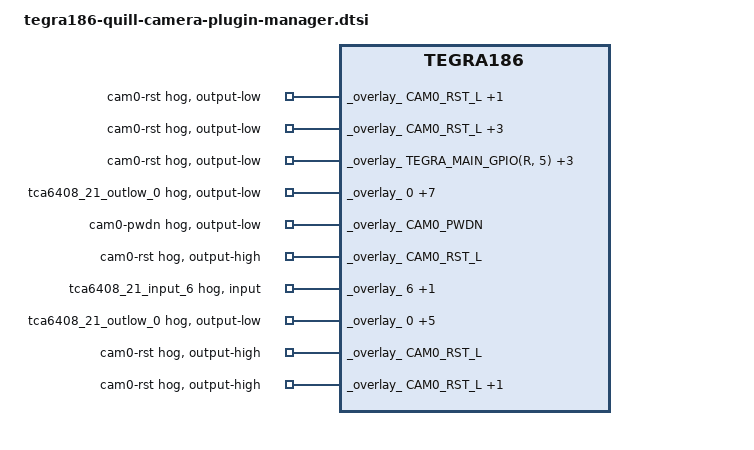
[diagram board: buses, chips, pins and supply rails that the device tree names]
/*
 * Copyright (c) 2016-2019, NVIDIA CORPORATION.  All rights reserved.
 *
 * This program is free software; you can redistribute it and/or modify
 * it under the terms of the GNU General Public License as published by
 * the Free Software Foundation; version 2 of the License.
 *
 * This program is distributed in the hope that it will be useful, but WITHOUT
 * ANY WARRANTY; without even the implied warranty of MERCHANTABILITY or
 * FITNESS FOR A PARTICULAR PURPOSE.  See the GNU General Public License for
 * more details.
 *
 */

#define CAM0_RST_L	TEGRA_MAIN_GPIO(R, 5)
#define CAM0_PWDN	TEGRA_MAIN_GPIO(R, 0)
#define CAM1_RST_L	TEGRA_MAIN_GPIO(R, 1)
#define CAM1_PWDN	TEGRA_MAIN_GPIO(L, 6)

/ {
	gpio@2200000 {
		camera-control-output-low {
			status = "disabled";
		};

		camera-control-output-high {
			status = "disabled";
		};

		camera-control-input {
			status = "disabled";
		};
	};

	gpio@c2f0000 {
		camera-control-output-low {
			status = "disabled";
		};

		camera-control-output-high {
			status = "disabled";
		};

		camera-control-input {
			status = "disabled";
		};
	};

	/* camera plugin-manager */
	plugin-manager {
		/* IMX390 */
		fragment-imx390@0 {
			ids = "LPRD-001";
			override@0 {
				target = <&imx390_cam0>;
				_overlay_ {
					status = "okay";
				};
			};
			override@1 {
				target = <&cam_module0>;
				_overlay_ {
					status = "okay";
					badge = "imx390_rear";
					position = "rear";
					orientation = "1";
				};
			};
			override@2 {
				target = <&cam_module0_drivernode0>;
				_overlay_ {
					status = "okay";
					pcl_id = "v4l2_sensor";
					devname = "imx390 30-001b";
					proc-device-tree = "/proc/device-tree/i2c@3180000/tca9546@70/i2c@0/imx390_a@1b";
				};
			};
			override@3 {
				target = <&imx390_cam1>;
				_overlay_ {
					status = "okay";
				};
			};
			override@4 {
				target = <&cam_module1>;
				_overlay_ {
					status = "okay";
					badge = "imx390_front";
					position = "front";
					orientation = "1";
				};
			};
			override@5 {
				target = <&cam_module1_drivernode0>;
				_overlay_ {
					status = "okay";
					pcl_id = "v4l2_sensor";
					devname = "imx390 30-001c";
					proc-device-tree = "/proc/device-tree/i2c@3180000/tca9546@70/i2c@0/imx390_b@1c";
				};
			};

			/* Enable VI ports */
			override@6 {
				target = <&vi_base>;
				_overlay_ {
					num-channels=<2>;
				};
			};
			override@7 {
				target = <&vi_port0>;
				_overlay_ {
					status = "okay";
				};
			};
			override@8 {
				target = <&vi_port1>;
				_overlay_ {
					status = "okay";
				};
			};
			override@9 {
				target = <&imx390_vi_in0>;
				_overlay_ {
					status = "okay";
					vc-id = <0>;
					port-index = <0>;
					bus-width = <2>;
					remote-endpoint = <&imx390_csi_out0>;
				};
			};
			override@10 {
				target = <&imx390_vi_in1>;
				_overlay_ {
					status = "okay";
					vc-id = <1>;
					port-index = <0>;
					bus-width = <2>;
					remote-endpoint = <&imx390_csi_out1>;
				};
			};

			/* Enable CSI ports */
			override@11{
				target = <&csi_base>;
				_overlay_ {
					num-channels=<2>;
				};
			};
			override@12 {
				target = <&csi_chan0>;
				_overlay_ {
					status = "okay";
				};
			};
			override@13 {
				target = <&csi_chan0_port0>;
				_overlay_ {
					status = "okay";
				};
			};
			override@14 {
				target = <&imx390_csi_in0>;
				_overlay_ {
					status = "okay";
					port-index = <0>;
					bus-width = <2>;
					remote-endpoint = <&imx390_imx390_out0>;
				};
			};
			override@15 {
				target = <&csi_chan0_port1>;
				_overlay_ {
					status = "okay";
				};
			};
			override@16 {
				target = <&imx390_csi_out0>;
				_overlay_ {
					status = "okay";
				};
			};
			override@17 {
				target = <&csi_chan1>;
				_overlay_ {
					status = "okay";
				};
			};
			override@18 {
				target = <&csi_chan1_port0>;
				_overlay_ {
					status = "okay";
				};
			};
			override@19 {
				target = <&imx390_csi_in1>;
				_overlay_ {
					status = "okay";
					port-index = <0>;
					bus-width = <2>;
					remote-endpoint = <&imx390_imx390_out1>;
				};
			};
			override@20 {
				target = <&csi_chan1_port1>;
				_overlay_ {
					status = "okay";
				};
			};
			override@21 {
				target = <&imx390_csi_out1>;
				_overlay_ {
					status = "okay";
				};
			};

			/* tegra-camera-platform settings */
			override@22 {
				target = <&tcp>;
				_overlay_ {
					num_csi_lanes = <2>;
					max_lane_speed = <4000000>;
					min_bits_per_pixel = <10>;
					vi_peak_byte_per_pixel = <2>;
					vi_bw_margin_pct = <25>;
					isp_peak_byte_per_pixel = <5>;
					isp_bw_margin_pct = <25>;
				};
			};
			/* pca9546 i2c mux */
			override@23 {
				target = <&tca9546_70>;
				_overlay_ {
					status = "okay";
					vcc-pullup-supply = <&battery_reg>;
				};
			};
			override@24 {
				target = <&max9296_dser>;
				_overlay_ {
					status = "okay";
				};
			};
			override@25 {
				target = <&max9295_prim>;
				_overlay_ {
					status = "okay";
				};
			};
			override@26 {
				target = <&max9295_ser0>;
				_overlay_ {
					status = "okay";
				};
			};
			override@27 {
				target = <&max9295_ser1>;
				_overlay_ {
					status = "okay";
				};
			};
		};

		/* E3326 camera board */
		fragment-e3326@0 {
			ids = "3326-*";
			override@0 {
				target = <&e3326_cam0>;
				_overlay_ {
					status = "okay";
				};
			};
			override@1 {
				target = <&cam_module0>;
				_overlay_ {
					status = "okay";
					badge = "e3326_front_P5V27C";
					position = "rear";
					orientation = "1";
				};
			};
			override@2 {
				target = <&cam_module0_drivernode0>;
				_overlay_ {
					status = "okay";
					pcl_id = "v4l2_sensor";
					devname = "ov5693 2-0036";
					proc-device-tree = "/proc/device-tree/i2c@3180000/ov5693_c@36";
				};
			};
			override@3 {
				target = <&cam_module0_drivernode1>;
				_overlay_ {
					status = "okay";
					pcl_id = "v4l2_lens";
					proc-device-tree = "/proc/device-tree/e3326_lens_ov5693@P5V27C/";
				};
			};
			/* Enable VI ports */
			override@4 {
				target = <&vi_base>;
				_overlay_ {
					num-channels=<1>;
				};
			};
			override@5 {
				target = <&vi_port0>;
				_overlay_ {
					status = "okay";
				};
			};
			override@6 {
				target = <&e3326_vi_in0>;
				_overlay_ {
					status = "okay";
					port-index = <2>;
					bus-width = <2>;
					remote-endpoint = <&e3326_csi_out0>;
				};
			};
			/* Enable CSI ports */
			override@7 {
				target = <&csi_base>;
				_overlay_ {
					num-channels=<1>;
				};
			};
			override@8 {
				target = <&csi_chan0>;
				_overlay_ {
					status = "okay";
				};
			};
			override@9 {
				target = <&csi_chan0_port0>;
				_overlay_ {
					status = "okay";
				};
			};
			override@10 {
				target = <&e3326_csi_in0>;
				_overlay_ {
					status = "okay";
					port-index = <2>;
					bus-width = <2>;
					remote-endpoint = <&e3326_ov5693_out0>;
				};
			};
			override@11 {
				target = <&csi_chan0_port1>;
				_overlay_ {
					status = "okay";
				};
			};
			override@12 {
				target = <&e3326_csi_out0>;
				_overlay_ {
					status = "okay";
					remote-endpoint = <&e3326_vi_in0>;
				};
			};
			/* tegra-camera-platform settings */
			override@13 {
				target = <&tcp>;
				_overlay_ {
					num_csi_lanes = <4>;
					max_lane_speed = <1500000>;
					min_bits_per_pixel = <10>;
					vi_peak_byte_per_pixel = <2>;
					vi_bw_margin_pct = <25>;
					isp_peak_byte_per_pixel = <5>;
					isp_bw_margin_pct = <25>;
				};
			};
			/* GPIO */
			override@14 {
				target = <&{/gpio@2200000}>;
				_overlay_ {
					camera-control-input {
						status = "disabled";
					};
					camera-control-output-low {
						gpio-hog;
						gpios = <CAM0_RST_L 0 CAM0_PWDN 0>;
						label = "cam0-rst", "cam0-pwdn";
						output-low;
						status = "okay";
					};
					camera-control-output-high {
						status = "disabled";
					};
				};
			};
			override@15 {
				target = <&{/gpio@c2f0000}>;
				_overlay_ {
					camera-control-input {
						status = "disabled";
					};
				};
			};
		};

		/* E3323 camera board */
		fragment-e3323@0 {
			ids = "3323-1000-*";
			/* enable E3323 camera 0 */
			override@0 {
				target = <&e3323_cam0>;
				_overlay_ {
					status = "okay";
				};
			};
			override@1 {
				target = <&cam_module0>;
				_overlay_ {
					status = "okay";
					badge = "e3323_bottom_CH06P1";
					position = "bottom";
					orientation = "3";
				};
			};
			override@2 {
				target = <&cam_module0_drivernode0>;
				_overlay_ {
					status = "okay";
					pcl_id = "v4l2_sensor";
					devname = "ov23850 2-0010";
					proc-device-tree = "/proc/device-tree/i2c@3180000/ov23850_a@10";
				};
			};
			/* enable E3323 camera 1 */
			override@3 {
				target = <&e3323_cam1>;
				_overlay_ {
					status = "okay";
				};
			};
			override@4 {
				target = <&cam_module1>;
				_overlay_ {
					status = "okay";
					badge = "e3323_top_CH06P1";
					position = "top";
					orientation = "3";
				};
			};
			override@5 {
				target = <&cam_module1_drivernode0>;
				_overlay_ {
					status = "okay";
					pcl_id = "v4l2_sensor";
					devname = "ov23850 1-0036";
					proc-device-tree = "/proc/device-tree/i2c@c240000/ov23850_c@36";
				};
			};
			override@6 {
				target = <&cam_module0_drivernode1>;
				_overlay_ {
					status = "okay";
					/* Declare PCL support driver (classically known as guid)  */
					pcl_id = "v4l2_lens";
					proc-device-tree = "/proc/device-tree/e3323_lens_ov23850@CH06P1/";
				};
			};
			override@7 {
				target = <&cam_module1_drivernode1>;
				_overlay_ {
					status = "okay";
					/* Declare PCL support driver (classically known as guid)  */
					pcl_id = "v4l2_lens";
					proc-device-tree = "/proc/device-tree/e3323_lens_ov23850@CH06P1/";
				};
			};
			/* enable VI ports */
			override@8 {
				target = <&vi_base>;
				_overlay_ {
					num-channels=<2>;
				};
			};
			override@9 {
				target = <&vi_port0>;
				_overlay_ {
					status = "okay";
				};
			};
			override@10 {
				target = <&e3323_vi_in0>;
				_overlay_ {
					status = "okay";
					port-index = <0>;
					bus-width = <4>;
					remote-endpoint = <&e3323_csi_out0>;
				};
			};
			override@11 {
				target = <&vi_port1>;
				_overlay_ {
					status = "okay";
				};
			};
			override@12 {
				target = <&e3323_vi_in1>;
				_overlay_ {
					status = "okay";
					port-index = <2>;
					bus-width = <4>;
					remote-endpoint = <&e3323_csi_out1>;
				};
			};
			/* Enable CSI ports */
			override@13 {
				target = <&csi_base>;
				_overlay_ {
					num-channels=<2>;
				};
			};
			override@14 {
				target = <&csi_chan0>;
				_overlay_ {
					status = "okay";
				};
			};
			override@15 {
				target = <&csi_chan0_port0>;
				_overlay_ {
					status = "okay";
				};
			};
			override@16 {
				target = <&e3323_csi_in0>;
				_overlay_ {
					status = "okay";
					port-index = <0>;
					bus-width = <4>;
					remote-endpoint = <&e3323_ov23850_out0>;
				};
			};
			override@17 {
				target = <&csi_chan0_port1>;
				_overlay_ {
					status = "okay";
				};
			};
			override@18 {
				target = <&e3323_csi_out0>;
				_overlay_ {
					status = "okay";
					remote-endpoint = <&e3323_vi_in0>;
				};
			};
			override@19 {
				target = <&csi_chan1>;
				_overlay_ {
					status = "okay";
				};
			};
			override@20 {
				target = <&csi_chan1_port0>;
				_overlay_ {
					status = "okay";
				};
			};
			override@21 {
				target = <&e3323_csi_in1>;
				_overlay_ {
					status = "okay";
					port-index = <2>;
					bus-width = <4>;
					remote-endpoint = <&e3323_ov23850_out1>;
				};
			};
			override@22 {
				target = <&csi_chan1_port1>;
				_overlay_ {
					status = "okay";
				};
			};
			override@23 {
				target = <&e3323_csi_out1>;
				_overlay_ {
					status = "okay";
					remote-endpoint = <&e3323_vi_in1>;
				};
			};
			/* tegra-camera-platform settings */
			override@24 {
				target = <&tcp>;
				_overlay_ {
					num_csi_lanes = <8>;
					max_lane_speed = <1500000>;
					min_bits_per_pixel = <10>;
					vi_peak_byte_per_pixel = <2>;
					vi_bw_margin_pct = <25>;
					max_pixel_rate = <750000>;
					isp_peak_byte_per_pixel = <5>;
					isp_bw_margin_pct = <25>;
				};
			};
			/* GPIO */
			override@25 {
				target = <&{/gpio@2200000}>;
				_overlay_ {
					camera-control-input {
						status = "disabled";
					};
					camera-control-output-low {
						gpio-hog;
						gpios = <CAM0_RST_L 0 CAM0_PWDN 0
							 CAM1_RST_L 0 CAM1_PWDN 0>;
						label = "cam0-rst", "cam0-pwdn",
							"cam1-rst", "cam1-pwdn";
						output-low;
						status = "okay";
					};
					camera-control-output-high {
						status = "disabled";
					};
				};
			};

			override@26 {
				target = <&{/gpio@c2f0000}>;
				_overlay_ {
					camera-control-input {
						status = "disabled";
					};
				};
			};
		};

		fragment-p3310-c00-camera {
			ids = ">=3310-1000-800", ">=3489-0000-200", ">=3489-0888-300";
			override@1 {
				target = <&{/i2c@c240000/ov23850_c@36}>;
				_overlay_ {
					pwdn-gpios = <&tegra_main_gpio TEGRA_MAIN_GPIO(N, 2) GPIO_ACTIVE_HIGH>;
				};
			};
			override@2 {
				target = <&{/gpio@2200000}>;
				_overlay_ {
					camera-control-output-low {
						gpio-hog;
						gpios = <TEGRA_MAIN_GPIO(R, 5) 0
							 TEGRA_MAIN_GPIO(R, 0) 0
							 TEGRA_MAIN_GPIO(R, 1) 0
							 TEGRA_MAIN_GPIO(N, 2) 0>;
						label = "cam0-rst", "cam0-pwdn",
							"cam1-rst", "cam1-pwdn";
						output-low;
						status = "okay";
					};
				};
			};
			override@3 {
				target = <&{/i2c@3180000/tca9548@77/i2c@1/ov5693_b@36}>;
				_overlay_ {
					pwdn-gpios = <&tegra_main_gpio TEGRA_MAIN_GPIO(N, 2) GPIO_ACTIVE_HIGH>;
				};
			};
		};

		/* E3333 camera board */
		fragment-e3333@0 {
			ids = "3333-*";
			/* VI number of channels */
			override@0 {
				target = <&vi_base>;
				_overlay_ {
					num-channels=<6>;
				};
			};
			/* CSI number of channels */
			override@1 {
				target = <&csi_base>;
				_overlay_ {
					num-channels=<6>;
				};
			};
			/* tegra-camera-platform settings */
			override@2 {
				target = <&tcp>;
				_overlay_ {
					num_csi_lanes = <12>;
					max_lane_speed = <1500000>;
					min_bits_per_pixel = <10>;
					vi_peak_byte_per_pixel = <2>;
					vi_bw_margin_pct = <25>;
					max_pixel_rate = <200000>;
					isp_peak_byte_per_pixel = <5>;
					isp_bw_margin_pct = <25>;
				};
			};
			/* TCA6408 */
			override@3 {
				target = <&tca6408_21>;
				_overlay_ {
					status = "okay";
				};
			};
			/* TCA9548 */
			override@4 {
				target = <&tca9548_77>;
				_overlay_ {
					status = "okay";
				};
			};
			/* Camera 0: Module */
			override@5 {
				target = <&e3333_cam0>;
				_overlay_ {
					status = "okay";
				};
			};
			override@6 {
				target = <&cam_module0>;
				_overlay_ {
					status = "okay";
					badge = "e3333_bottomleft_P5V27C";
					position = "bottomleft";
					orientation = "1";
				};
			};
			override@7 {
				target = <&cam_module0_drivernode0>;
				_overlay_ {
					status = "okay";
					pcl_id = "v4l2_sensor";
					devname = "ov5693 30-0036";
					proc-device-tree = "/proc/device-tree/i2c@3180000/tca9548@77/i2c@0/ov5693_a@36";
				};
			};
			override@8 {
				target = <&cam_module0_drivernode1>;
				_overlay_ {
					status = "okay";
					pcl_id = "v4l2_lens";
					proc-device-tree = "/proc/device-tree/e3333_lens_ov5693@P5V27C/";
				};
			};
			/* Camera 0: VI */
			override@9 {
				target = <&vi_port0>;
				_overlay_ {
					status = "okay";
				};
			};
			override@10 {
				target = <&e3333_vi_in0>;
				_overlay_ {
					status = "okay";
					port-index = <0>;
					bus-width = <2>;
					remote-endpoint = <&e3333_csi_out0>;
				};
			};
			/* Camera 0: CSI */
			override@11 {
				target = <&csi_chan0>;
				_overlay_ {
					status = "okay";
				};
			};
			override@12 {
				target = <&csi_chan0_port0>;
				_overlay_ {
					status = "okay";
				};
			};
			override@13 {
				target = <&e3333_csi_in0>;
				_overlay_ {
					status = "okay";
					port-index = <0>;
					bus-width = <2>;
					remote-endpoint = <&e3333_ov5693_out0>;
				};
			};
			override@14 {
				target = <&csi_chan0_port1>;
				_overlay_ {
					status = "okay";
				};
			};
			override@15 {
				target = <&e3333_csi_out0>;
				_overlay_ {
					status = "okay";
					remote-endpoint = <&e3333_vi_in0>;
				};
			};
			/* Camera 1: Module */
			override@16 {
				target = <&e3333_cam1>;
				_overlay_ {
					status = "okay";
				};
			};
			override@17 {
				target = <&cam_module1>;
				_overlay_ {
					status = "okay";
					badge = "e3333_centerleft_P5V27C";
					position = "centerleft";
					orientation = "1";
				};
			};
			override@18 {
				target = <&cam_module1_drivernode0>;
				_overlay_ {
					status = "okay";
					pcl_id = "v4l2_sensor";
					devname = "ov5693 31-0036";
					proc-device-tree = "/proc/device-tree/i2c@3180000/tca9548@77/i2c@1/ov5693_b@36";
				};
			};
			override@19 {
				target = <&cam_module1_drivernode1>;
				_overlay_ {
					status = "okay";
					pcl_id = "v4l2_lens";
					proc-device-tree = "/proc/device-tree/e3333_lens_ov5693@P5V27C/";
				};
			};
			/* Camera 1: VI */
			override@20 {
				target = <&vi_port1>;
				_overlay_ {
					status = "okay";
				};
			};
			override@21 {
				target = <&e3333_vi_in1>;
				_overlay_ {
					status = "okay";
					port-index = <1>;
					bus-width = <2>;
					remote-endpoint = <&e3333_csi_out1>;
				};
			};
			/* Camera 1: CSI */
			override@22 {
				target = <&csi_chan1>;
				_overlay_ {
					status = "okay";
				};
			};
			override@23 {
				target = <&csi_chan1_port0>;
				_overlay_ {
					status = "okay";
				};
			};
			override@24 {
				target = <&e3333_csi_in1>;
				_overlay_ {
					status = "okay";
					port-index = <1>;
					bus-width = <2>;
					remote-endpoint = <&e3333_ov5693_out1>;
				};
			};
			override@25 {
				target = <&csi_chan1_port1>;
				_overlay_ {
					status = "okay";
				};
			};
			override@26 {
				target = <&e3333_csi_out1>;
				_overlay_ {
					status = "okay";
					remote-endpoint = <&e3333_vi_in1>;
				};
			};
			/* Camera 2: Module */
			override@27 {
				target = <&e3333_cam2>;
				_overlay_ {
					status = "okay";
				};
			};
			override@28 {
				target = <&cam_module2>;
				_overlay_ {
					status = "okay";
					badge = "e3333_centerright_P5V27C";
					position = "centerright";
					orientation = "1";
				};
			};
			override@29 {
				target = <&cam_module2_drivernode0>;
				_overlay_ {
					status = "okay";
					pcl_id = "v4l2_sensor";
					devname = "ov5693 32-0036";
					proc-device-tree = "/proc/device-tree/i2c@3180000/tca9548@77/i2c@2/ov5693_c@36";
				};
			};
			override@30 {
				target = <&cam_module2_drivernode1>;
				_overlay_ {
					status = "okay";
					pcl_id = "v4l2_lens";
					proc-device-tree = "/proc/device-tree/e3333_lens_ov5693@P5V27C/";
				};
			};
			/* Camera 2: VI */
			override@31 {
				target = <&vi_port2>;
				_overlay_ {
					status = "okay";
				};
			};
			override@32 {
				target = <&e3333_vi_in2>;
				_overlay_ {
					status = "okay";
					port-index = <2>;
					bus-width = <2>;
					remote-endpoint = <&e3333_csi_out2>;
				};
			};
			/* Camera 2: CSI */
			override@33 {
				target = <&csi_chan2>;
				_overlay_ {
					status = "okay";
				};
			};
			override@34 {
				target = <&csi_chan2_port0>;
				_overlay_ {
					status = "okay";
				};
			};
			override@35 {
				target = <&e3333_csi_in2>;
				_overlay_ {
					status = "okay";
					port-index = <2>;
					bus-width = <2>;
					remote-endpoint = <&e3333_ov5693_out2>;
				};
			};
			override@36 {
				target = <&csi_chan2_port1>;
				_overlay_ {
					status = "okay";
				};
			};
			override@37 {
				target = <&e3333_csi_out2>;
				_overlay_ {
					status = "okay";
					remote-endpoint = <&e3333_vi_in2>;
				};
			};
			/* Camera 3: Module */
			override@38 {
				target = <&e3333_cam3>;
				_overlay_ {
					status = "okay";
				};
			};
			override@39 {
				target = <&cam_module3>;
				_overlay_ {
					status = "okay";
					badge = "e3333_topleft_P5V27C";
					position = "topleft";
					orientation = "1";
				};
			};
			override@40 {
				target = <&cam_module3_drivernode0>;
				_overlay_ {
					status = "okay";
					pcl_id = "v4l2_sensor";
					devname = "ov5693 33-0036";
					proc-device-tree = "/proc/device-tree/i2c@3180000/tca9548@77/i2c@3/ov5693_d@36";
				};
			};
			override@41 {
				target = <&cam_module3_drivernode1>;
				_overlay_ {
					status = "okay";
					pcl_id = "v4l2_lens";
					proc-device-tree = "/proc/device-tree/e3333_lens_ov5693@P5V27C/";
				};
			};
			/* Camera 3: VI */
			override@42 {
				target = <&vi_port3>;
				_overlay_ {
					status = "okay";
				};
			};
			override@43 {
				target = <&e3333_vi_in3>;
				_overlay_ {
					status = "okay";
					port-index = <3>;
					bus-width = <2>;
					remote-endpoint = <&e3333_csi_out3>;
				};
			};
			/* Camera 3: CSI */
			override@44 {
				target = <&csi_chan3>;
				_overlay_ {
					status = "okay";
				};
			};
			override@45 {
				target = <&csi_chan3_port0>;
				_overlay_ {
					status = "okay";
				};
			};
			override@46 {
				target = <&e3333_csi_in3>;
				_overlay_ {
					status = "okay";
					port-index = <3>;
					bus-width = <2>;
					remote-endpoint = <&e3333_ov5693_out3>;
				};
			};
			override@47 {
				target = <&csi_chan3_port1>;
				_overlay_ {
					status = "okay";
				};
			};
			override@48 {
				target = <&e3333_csi_out3>;
				_overlay_ {
					status = "okay";
					remote-endpoint = <&e3333_vi_in3>;
				};
			};
			/* Camera 4: Module */
			override@49 {
				target = <&e3333_cam4>;
				_overlay_ {
					status = "okay";
				};
			};
			override@50 {
				target = <&cam_module4>;
				_overlay_ {
					status = "okay";
					badge = "e3333_bottomright_P5V27C";
					position = "bottomright";
					orientation = "1";
				};
			};
			override@51 {
				target = <&cam_module4_drivernode0>;
				_overlay_ {
					status = "okay";
					pcl_id = "v4l2_sensor";
					devname = "ov5693 34-0036";
					proc-device-tree = "/proc/device-tree/i2c@3180000/tca9548@77/i2c@4/ov5693_e@36";
				};
			};
			override@52 {
				target = <&cam_module4_drivernode1>;
				_overlay_ {
					status = "okay";
					pcl_id = "v4l2_lens";
					proc-device-tree = "/proc/device-tree/e3333_lens_ov5693@P5V27C/";
				};
			};
			/* Camera 4: VI */
			override@53 {
				target = <&vi_port4>;
				_overlay_ {
					status = "okay";
				};
			};
			override@54 {
				target = <&e3333_vi_in4>;
				_overlay_ {
					status = "okay";
					port-index = <4>;
					bus-width = <2>;
					remote-endpoint = <&e3333_csi_out4>;
				};
			};
			/* Camera 4: CSI */
			override@55 {
				target = <&csi_chan4>;
				_overlay_ {
					status = "okay";
				};
			};
			override@56 {
				target = <&csi_chan4_port0>;
				_overlay_ {
					status = "okay";
				};
			};
			override@57 {
				target = <&e3333_csi_in4>;
				_overlay_ {
					status = "okay";
					port-index = <4>;
					bus-width = <2>;
					remote-endpoint = <&e3333_ov5693_out4>;
				};
			};
			override@58 {
				target = <&csi_chan4_port1>;
				_overlay_ {
					status = "okay";
				};
			};
			override@59 {
				target = <&e3333_csi_out4>;
				_overlay_ {
					status = "okay";
					remote-endpoint = <&e3333_vi_in4>;
				};
			};
			/* Camera 5: Module */
			override@60 {
				target = <&e3333_cam5>;
				_overlay_ {
					status = "okay";
				};
			};
			override@61 {
				target = <&cam_module5>;
				_overlay_ {
					status = "okay";
					badge = "e3333_topright_P5V27C";
					position = "topright";
					orientation = "1";
				};
			};
			override@62 {
				target = <&cam_module5_drivernode0>;
				_overlay_ {
					status = "okay";
					pcl_id = "v4l2_sensor";
					devname = "ov5693 35-0036";
					proc-device-tree = "/proc/device-tree/i2c@3180000/tca9548@77/i2c@5/ov5693_f@36";
				};
			};
			override@63 {
				target = <&cam_module5_drivernode1>;
				_overlay_ {
					status = "okay";
					pcl_id = "v4l2_lens";
					proc-device-tree = "/proc/device-tree/e3333_lens_ov5693@P5V27C/";
				};
			};
			/* Camera 5: VI */
			override@64 {
				target = <&vi_port5>;
				_overlay_ {
					status = "okay";
				};
			};
			override@65 {
				target = <&e3333_vi_in5>;
				_overlay_ {
					status = "okay";
					port-index = <5>;
					bus-width = <2>;
					remote-endpoint = <&e3333_csi_out5>;
				};
			};
			/* Camera 5: CSI */
			override@66 {
				target = <&csi_chan5>;
				_overlay_ {
					status = "okay";
				};
			};
			override@67 {
				target = <&csi_chan5_port0>;
				_overlay_ {
					status = "okay";
				};
			};
			override@68 {
				target = <&e3333_csi_in5>;
				_overlay_ {
					status = "okay";
					port-index = <5>;
					bus-width = <2>;
					remote-endpoint = <&e3333_ov5693_out5>;
				};
			};
			override@69 {
				target = <&csi_chan5_port1>;
				_overlay_ {
					status = "okay";
				};
			};
			override@70 {
				target = <&e3333_csi_out5>;
				_overlay_ {
					status = "okay";
					remote-endpoint = <&e3333_vi_in5>;
				};
			};
			/* GPIO */
			override@71 {
				target = <&{/gpio@2200000}>;
				_overlay_ {
					camera-control-input {
						status = "disabled";
					};
					camera-control-output-low {
						gpio-hog;
						gpios = <CAM0_RST_L 0 CAM0_PWDN 0
							 CAM1_RST_L 0 CAM1_PWDN 0>;
						label = "cam0-rst", "cam0-pwdn",
							"cam1-rst", "cam1-pwdn";
						output-low;
						status = "disabled";
					};
					camera-control-output-high {
						status = "disabled";
					};
				};
			};
			override@712 {
				target = <&{/gpio@c2f0000}>;
				_overlay_ {
					camera-control-input {
						status = "disabled";
					};
					camera-control-output-low {
						status = "okay";
					};

					camera-control-output-high {
						status = "okay";
					};

				};
			};
			/* TCA6408 default */
			override@72 {
				target = <&tca6408_21>;
				_overlay_ {
					tca6408_21_input {
						status = "disabled";
					};
					tca6408_21_outlow {
						gpio-hog;
						gpios = <0 0 1 0 2 0 3 0 4 0
							 5 0 6 0 7 0>;
						output-low;
						label = "tca6408_21_outlow_0",
							"tca6408_21_outlow_1",
							"tca6408_21_outlow_2",
							"tca6408_21_outlow_3",
							"tca6408_21_outlow_4",
							"tca6408_21_outlow_5",
							"tca6408_21_outlow_6",
							"tca6408_21_outlow_7";
						status = "okay";
					};
					tca6408_21_outhigh {
						status = "disabled";
					};
				};
			};
			/* I2C default */
			override@73 {
				target = <&cam_i2c>;
				_overlay_ {
					compatible = "nvidia,tegra186-i2c";
				};
			};
		};

		/* E3322 camera board */
		fragment-e3322@0 {
			ids = "3322-*";
			/* VI number of channels */
			override@0 {
				target = <&vi_base>;
				_overlay_ {
					num-channels=<6>;
				};
			};
			/* CSI number of channels */
			override@1 {
				target = <&csi_base>;
				_overlay_ {
					num-channels=<6>;
				};
			};
			/* tegra-camera-platform settings */
			override@2 {
				target = <&tcp>;
				_overlay_ {
					num_csi_lanes = <12>;
					max_lane_speed = <1500000>;
					min_bits_per_pixel = <10>;
					vi_peak_byte_per_pixel = <2>;
					vi_bw_margin_pct = <25>;
					isp_peak_byte_per_pixel = <5>;
					isp_bw_margin_pct = <25>;
				};
			};
			/* TCA6408 */
			override@3 {
				target = <&tca6408_21>;
				_overlay_ {
					status = "okay";
				};
			};
			/* TCA9548 */
			override@4 {
				target = <&tca9548_77>;
				_overlay_ {
					status = "okay";
				};
			};
			/* Camera 0: Module */
			override@5 {
				target = <&e3322_cam0>;
				_overlay_ {
					status = "okay";
				};
			};
			override@6 {
				target = <&cam_module0>;
				_overlay_ {
					status = "okay";
					badge = "e3322_bottomleft_P5V27C";
					position = "bottomleft";
					orientation = "1";
				};
			};
			override@7 {
				target = <&cam_module0_drivernode0>;
				_overlay_ {
					status = "okay";
					pcl_id = "v4l2_sensor";
					devname = "imx219 30-0010";
					proc-device-tree = "/proc/device-tree/i2c@3180000/tca9548@77/i2c@0/imx219_a@10";
				};
			};
			override@8 {
				target = <&cam_module0_drivernode1>;
				_overlay_ {
					status = "okay";
					pcl_id = "v4l2_lens";
				};
			};
			/* Camera 0: VI */
			override@9 {
				target = <&vi_port0>;
				_overlay_ {
					status = "okay";
				};
			};
			override@10 {
				target = <&e3322_vi_in0>;
				_overlay_ {
					status = "okay";
					port-index = <0>;
					bus-width = <2>;
					remote-endpoint = <&e3322_csi_out0>;
				};
			};
			/* Camera 0: CSI */
			override@11 {
				target = <&csi_chan0>;
				_overlay_ {
					status = "okay";
				};
			};
			override@12 {
				target = <&csi_chan0_port0>;
				_overlay_ {
					status = "okay";
				};
			};
			override@13 {
				target = <&e3322_csi_in0>;
				_overlay_ {
					status = "okay";
					port-index = <0>;
					bus-width = <2>;
					remote-endpoint = <&e3322_imx219_out0>;
				};
			};
			override@14 {
				target = <&csi_chan0_port1>;
				_overlay_ {
					status = "okay";
				};
			};
			override@15 {
				target = <&e3322_csi_out0>;
				_overlay_ {
					status = "okay";
					remote-endpoint = <&e3322_vi_in0>;
				};
			};
			/* Camera 1: Module */
			override@16 {
				target = <&e3322_cam1>;
				_overlay_ {
					status = "okay";
				};
			};
			override@17 {
				target = <&cam_module1>;
				_overlay_ {
					status = "okay";
					badge = "e3322_centerleft_P5V27C";
					position = "centerleft";
					orientation = "1";
				};
			};
			override@18 {
				target = <&cam_module1_drivernode0>;
				_overlay_ {
					status = "okay";
					pcl_id = "v4l2_sensor";
					devname = "imx219 31-0010";
					proc-device-tree = "/proc/device-tree/i2c@3180000/tca9548@77/i2c@1/imx219_b@10";
				};
			};
			override@19 {
				target = <&cam_module1_drivernode1>;
				_overlay_ {
					status = "okay";
					pcl_id = "v4l2_lens";
				};
			};
			/* Camera 1: VI */
			override@20 {
				target = <&vi_port1>;
				_overlay_ {
					status = "okay";
				};
			};
			override@21 {
				target = <&e3322_vi_in1>;
				_overlay_ {
					status = "okay";
					port-index = <1>;
					bus-width = <2>;
					remote-endpoint = <&e3322_csi_out1>;
				};
			};
			/* Camera 1: CSI */
			override@22 {
				target = <&csi_chan1>;
				_overlay_ {
					status = "okay";
				};
			};
			override@23 {
				target = <&csi_chan1_port0>;
				_overlay_ {
					status = "okay";
				};
			};
			override@24 {
				target = <&e3322_csi_in1>;
				_overlay_ {
					status = "okay";
					port-index = <1>;
					bus-width = <2>;
					remote-endpoint = <&e3322_imx219_out1>;
				};
			};
			override@25 {
				target = <&csi_chan1_port1>;
				_overlay_ {
					status = "okay";
				};
			};
			override@26 {
				target = <&e3322_csi_out1>;
				_overlay_ {
					status = "okay";
					remote-endpoint = <&e3322_vi_in1>;
				};
			};
			/* Camera 2: Module */
			override@27 {
				target = <&e3322_cam2>;
				_overlay_ {
					status = "okay";
				};
			};
			override@28 {
				target = <&cam_module2>;
				_overlay_ {
					status = "okay";
					badge = "e3322_centerright_P5V27C";
					position = "centerright";
					orientation = "1";
				};
			};
			override@29 {
				target = <&cam_module2_drivernode0>;
				_overlay_ {
					status = "okay";
					pcl_id = "v4l2_sensor";
					devname = "imx219 32-0010";
					proc-device-tree = "/proc/device-tree/i2c@3180000/tca9548@77/i2c@2/imx219_c@10";
				};
			};
			override@30 {
				target = <&cam_module2_drivernode1>;
				_overlay_ {
					status = "okay";
					pcl_id = "v4l2_lens";
				};
			};
			/* Camera 2: VI */
			override@31 {
				target = <&vi_port2>;
				_overlay_ {
					status = "okay";
				};
			};
			override@32 {
				target = <&e3322_vi_in2>;
				_overlay_ {
					status = "okay";
					port-index = <2>;
					bus-width = <2>;
					remote-endpoint = <&e3322_csi_out2>;
				};
			};
			/* Camera 2: CSI */
			override@33 {
				target = <&csi_chan2>;
				_overlay_ {
					status = "okay";
				};
			};
			override@34 {
				target = <&csi_chan2_port0>;
				_overlay_ {
					status = "okay";
				};
			};
			override@35 {
				target = <&e3322_csi_in2>;
				_overlay_ {
					status = "okay";
					port-index = <2>;
					bus-width = <2>;
					remote-endpoint = <&e3322_imx219_out2>;
				};
			};
			override@36 {
				target = <&csi_chan2_port1>;
				_overlay_ {
					status = "okay";
				};
			};
			override@37 {
				target = <&e3322_csi_out2>;
				_overlay_ {
					status = "okay";
					remote-endpoint = <&e3322_vi_in2>;
				};
			};
			/* Camera 3: Module */
			override@38 {
				target = <&e3322_cam3>;
				_overlay_ {
					status = "okay";
				};
			};
			override@39 {
				target = <&cam_module3>;
				_overlay_ {
					status = "okay";
					badge = "e3322_topleft_P5V27C";
					position = "topleft";
					orientation = "1";
				};
			};
			override@40 {
				target = <&cam_module3_drivernode0>;
				_overlay_ {
					status = "okay";
					pcl_id = "v4l2_sensor";
					devname = "imx219 33-0010";
					proc-device-tree = "/proc/device-tree/i2c@3180000/tca9548@77/i2c@3/imx219_d@10";
				};
			};
			override@41 {
				target = <&cam_module3_drivernode1>;
				_overlay_ {
					status = "okay";
					pcl_id = "v4l2_lens";
				};
			};
			/* Camera 3: VI */
			override@42 {
				target = <&vi_port3>;
				_overlay_ {
					status = "okay";
				};
			};
			override@43 {
				target = <&e3322_vi_in3>;
				_overlay_ {
					status = "okay";
					port-index = <3>;
					bus-width = <2>;
					remote-endpoint = <&e3322_csi_out3>;
				};
			};
			/* Camera 3: CSI */
			override@44 {
				target = <&csi_chan3>;
				_overlay_ {
					status = "okay";
				};
			};
			override@45 {
				target = <&csi_chan3_port0>;
				_overlay_ {
					status = "okay";
				};
			};
			override@46 {
				target = <&e3322_csi_in3>;
				_overlay_ {
					status = "okay";
					port-index = <3>;
					bus-width = <2>;
					remote-endpoint = <&e3322_imx219_out3>;
				};
			};
			override@47 {
				target = <&csi_chan3_port1>;
				_overlay_ {
					status = "okay";
				};
			};
			override@48 {
				target = <&e3322_csi_out3>;
				_overlay_ {
					status = "okay";
					remote-endpoint = <&e3322_vi_in3>;
				};
			};
			/* Camera 4: Module */
			override@49 {
				target = <&e3322_cam4>;
				_overlay_ {
					status = "okay";
				};
			};
			override@50 {
				target = <&cam_module4>;
				_overlay_ {
					status = "okay";
					badge = "e3322_bottomright_P5V27C";
					position = "bottomright";
					orientation = "1";
				};
			};
			override@51 {
				target = <&cam_module4_drivernode0>;
				_overlay_ {
					status = "okay";
					pcl_id = "v4l2_sensor";
					devname = "imx219 34-0010";
					proc-device-tree = "/proc/device-tree/i2c@3180000/tca9548@77/i2c@4/imx219_e@10";
				};
			};
			override@52 {
				target = <&cam_module4_drivernode1>;
				_overlay_ {
					status = "okay";
					pcl_id = "v4l2_lens";
				};
			};
			/* Camera 4: VI */
			override@53 {
				target = <&vi_port4>;
				_overlay_ {
					status = "okay";
				};
			};
			override@54 {
				target = <&e3322_vi_in4>;
				_overlay_ {
					status = "okay";
					port-index = <4>;
					bus-width = <2>;
					remote-endpoint = <&e3322_csi_out4>;
				};
			};
			/* Camera 4: CSI */
			override@55 {
				target = <&csi_chan4>;
				_overlay_ {
					status = "okay";
				};
			};
			override@56 {
				target = <&csi_chan4_port0>;
				_overlay_ {
					status = "okay";
				};
			};
			override@57 {
				target = <&e3322_csi_in4>;
				_overlay_ {
					status = "okay";
					port-index = <4>;
					bus-width = <2>;
					remote-endpoint = <&e3322_imx219_out4>;
				};
			};
			override@58 {
				target = <&csi_chan4_port1>;
				_overlay_ {
					status = "okay";
				};
			};
			override@59 {
				target = <&e3322_csi_out4>;
				_overlay_ {
					status = "okay";
					remote-endpoint = <&e3322_vi_in4>;
				};
			};
			/* Camera 5: Module */
			override@60 {
				target = <&e3322_cam5>;
				_overlay_ {
					status = "okay";
				};
			};
			override@61 {
				target = <&cam_module5>;
				_overlay_ {
					status = "okay";
					badge = "e3322_topright_P5V27C";
					position = "topright";
					orientation = "1";
				};
			};
			override@62 {
				target = <&cam_module5_drivernode0>;
				_overlay_ {
					status = "okay";
					pcl_id = "v4l2_sensor";
					devname = "imx219 35-0010";
					proc-device-tree = "/proc/device-tree/i2c@3180000/tca9548@77/i2c@5/imx219_f@10";
				};
			};
			override@63 {
				target = <&cam_module5_drivernode1>;
				_overlay_ {
					status = "okay";
					pcl_id = "v4l2_lens";
				};
			};
			/* Camera 5: VI */
			override@64 {
				target = <&vi_port5>;
				_overlay_ {
					status = "okay";
				};
			};
			override@65 {
				target = <&e3322_vi_in5>;
				_overlay_ {
					status = "okay";
					port-index = <5>;
					bus-width = <2>;
					remote-endpoint = <&e3322_csi_out5>;
				};
			};
			/* Camera 5: CSI */
			override@66 {
				target = <&csi_chan5>;
				_overlay_ {
					status = "okay";
				};
			};
			override@67 {
				target = <&csi_chan5_port0>;
				_overlay_ {
					status = "okay";
				};
			};
			override@68 {
				target = <&e3322_csi_in5>;
				_overlay_ {
					status = "okay";
					port-index = <5>;
					bus-width = <2>;
					remote-endpoint = <&e3322_imx219_out5>;
				};
			};
			override@69 {
				target = <&csi_chan5_port1>;
				_overlay_ {
					status = "okay";
				};
			};
			override@70 {
				target = <&e3322_csi_out5>;
				_overlay_ {
					status = "okay";
					remote-endpoint = <&e3322_vi_in5>;
				};
			};
			/* GPIO */
			override@71 {
				target = <&{/gpio@2200000}>;
				_overlay_ {
					camera-control-input {
						status = "disabled";
					};
					camera-control-output-low {
						gpio-hog;
						gpios = <CAM0_PWDN 0>;
						label = "cam0-pwdn";
						output-low;
						status = "okay";
					};
					camera-control-output-high {
						gpio-hog;
						gpios = <CAM0_RST_L 0>;
						label = "cam0-rst";
						output-high;
						status = "okay";
					};
				};
			};
			override@712 {
				target = <&{/gpio@c2f0000}>;
				_overlay_ {
					camera-control-input {
						status = "disabled";
					};
				};
			};
			/* TCA6408 default */
			override@72 {
				target = <&tca6408_21>;
				_overlay_ {
					tca6408_21_input {
						gpio-hog;
						gpios = <6 0 7 0>;
						input;
						label = "tca6408_21_input_6",
							"tca6408_21_input_7";
						status = "okay";
					};
					tca6408_21_outlow {
						gpio-hog;
						gpios = <0 0 1 0 2 0 3 0 4 0 5 0>;
						output-low;
						label = "tca6408_21_outlow_0",
							"tca6408_21_outlow_1",
							"tca6408_21_outlow_2",
							"tca6408_21_outlow_3",
							"tca6408_21_outlow_4",
							"tca6408_21_outlow_5";
						status = "okay";
					};
					tca6408_21_outhigh {
						status = "disabled";
					};
				};
			};
		};

		fragment-imx185@0 {
			ids = "LPRD-002001";
			override@0 {
				target = <&imx185_cam0>;
				_overlay_ {
					status = "okay";
				};
			};
			override@1 {
				target = <&cam_module0>;
				_overlay_ {
					status = "okay";
					badge = "imx185_bottom_liimx185";
					position = "bottom";
					orientation = "0";
				};
			};
			override@2 {
				target = <&cam_module0_drivernode0>;
				_overlay_ {
					status = "okay";
					pcl_id = "v4l2_sensor";
					devname = "imx185 30-001a";
					proc-device-tree = "/proc/device-tree/i2c@3180000/tca9546@70/i2c@0/imx185_a@1a";
				};
			};
			override@3 {
				target = <&cam_module0_drivernode1>;
				_overlay_ {
					status = "okay";
					pcl_id = "v4l2_lens";
				};
			};
			/* Enable VI ports */
			override@4 {
				target = <&vi_base>;
				_overlay_ {
					num-channels=<1>;
				};
			};
			override@5 {
				target = <&vi_port0>;
				_overlay_ {
					status = "okay";
				};
			};
			override@6 {
				target = <&liimx185_vi_in0>;
				_overlay_ {
					status = "okay";
					port-index = <0>;
					bus-width = <4>;
					remote-endpoint = <&liimx185_csi_out0>;
				};
			};
			/* Enable CSI ports */
			override@7 {
				target = <&csi_base>;
				_overlay_ {
					num-channels=<1>;
				};
			};
			override@8 {
				target = <&csi_chan0>;
				_overlay_ {
					status = "okay";
				};
			};
			override@9 {
				target = <&csi_chan0_port0>;
				_overlay_ {
					status = "okay";
				};
			};
			override@10 {
				target = <&liimx185_csi_in0>;
				_overlay_ {
					status = "okay";
					port-index = <0>;
					bus-width = <4>;
					remote-endpoint = <&liimx185_imx185_out0>;
				};
			};
			override@11 {
				target = <&csi_chan0_port1>;
				_overlay_ {
					status = "okay";
				};
			};
			override@12 {
				target = <&liimx185_csi_out0>;
				_overlay_ {
					status = "okay";
					remote-endpoint = <&liimx185_vi_in0>;
				};
			};
			/* tegra-camera-platform settings */
			override@13 {
				target = <&tcp>;
				_overlay_ {
					num_csi_lanes = <4>;
					max_lane_speed = <1500000>;
					min_bits_per_pixel = <10>;
					vi_peak_byte_per_pixel = <2>;
					vi_bw_margin_pct = <25>;
					isp_peak_byte_per_pixel = <5>;
					isp_bw_margin_pct = <25>;
				};
			};
			/* pca9646 i2c mux */
			override@14 {
				target = <&tca9546_70>;
				_overlay_ {
					status = "okay";
				};
			};
			/* GPIO expander */
			override@15 {
				target = <&pca9570_a_24>;
				_overlay_ {
					status = "okay";
				};
			};

			/* Disable imx390 nodes for imx185 as they share same imterposer board */
			override@16 {
				target = <&imx390_cam0>;
				_overlay_ {
					status = "disabled";
				};
			};
			override@17 {
				target = <&imx390_cam1>;
				_overlay_ {
					status = "disabled";
				};
			};
			override@18 {
				target = <&cam_module1>;
				_overlay_ {
					status = "disabled";
				};
			};
		};

		fragment-imx274@0 {
			ids = "LPRD-002002";
			override@0 {
				target = <&imx274_cam0>;
				_overlay_ {
					status = "okay";
				};
			};
			override@1 {
				target = <&cam_module0>;
				_overlay_ {
					status = "okay";
					badge = "imx274_bottom_A6V26";
					position = "bottom";
					orientation = "0";
				};
			};
			override@2 {
				target = <&cam_module0_drivernode0>;
				_overlay_ {
					status = "okay";
					pcl_id = "v4l2_sensor";
					devname = "imx274 30-001a";
					proc-device-tree = "/proc/device-tree/i2c@3180000/tca9546@70/i2c@0/imx274_a@1a";
				};
			};
			override@3 {
				target = <&cam_module0_drivernode1>;
				_overlay_ {
					status = "okay";
					pcl_id = "v4l2_lens";
					proc-device-tree = "/proc/device-tree/lens_imx274@A6V26/";
				};
			};
			/* Enable VI ports */
			override@4 {
				target = <&vi_base>;
				_overlay_ {
					num-channels=<1>;
				};
			};
			override@5 {
				target = <&vi_port0>;
				_overlay_ {
					status = "okay";
				};
			};
			override@6 {
				target = <&liimx274_vi_in0>;
				_overlay_ {
					status = "okay";
					port-index = <0>;
					bus-width = <4>;
					remote-endpoint = <&liimx274_csi_out0>;
				};
			};
			/* Enable CSI ports */
			override@7 {
				target = <&csi_base>;
				_overlay_ {
					num-channels=<1>;
				};
			};
			override@8 {
				target = <&csi_chan0>;
				_overlay_ {
					status = "okay";
				};
			};
			override@9 {
				target = <&csi_chan0_port0>;
				_overlay_ {
					status = "okay";
				};
			};
			override@10 {
				target = <&liimx274_csi_in0>;
				_overlay_ {
					status = "okay";
					port-index = <0>;
					bus-width = <4>;
					remote-endpoint = <&liimx274_imx274_out0>;
				};
			};
			override@11 {
				target = <&csi_chan0_port1>;
				_overlay_ {
					status = "okay";
				};
			};
			override@12 {
				target = <&liimx274_csi_out0>;
				_overlay_ {
					status = "okay";
					remote-endpoint = <&liimx274_vi_in0>;
				};
			};
			/* tegra-camera-platform settings */
			override@13 {
				target = <&tcp>;
				_overlay_ {
					num_csi_lanes = <4>;
					max_lane_speed = <1500000>;
					min_bits_per_pixel = <10>;
					vi_peak_byte_per_pixel = <2>;
					vi_bw_margin_pct = <25>;
					isp_peak_byte_per_pixel = <5>;
					isp_bw_margin_pct = <25>;
				};
			};
			/* pca9646 i2c mux */
			override@14 {
				target = <&tca9546_70>;
				_overlay_ {
					status = "okay";
				};
			};
			/* GPIO */
			override@15 {
				target = <&{/gpio@2200000}>;
				_overlay_ {
					camera-control-input {
						status = "disabled";
					};
					camera-control-output-low {
						status = "disabled";
					};
					camera-control-output-high {
						gpio-hog;
						gpios = <CAM0_RST_L 0>;
						label = "cam0-rst";
						output-high;
						status = "okay";
					};
				};
			};
			/* GPIO expander */
			override@16 {
				target = <&pca9570_a_24>;
				_overlay_ {
					status = "okay";
				};
			};

			/* Disable imx390 nodes for imx274 as they share same interposer board */
			override@17 {
				target = <&imx390_cam0>;
				_overlay_ {
					status = "disabled";
				};
			};
			override@18 {
				target = <&imx390_cam1>;
				_overlay_ {
					status = "disabled";
				};
			};
			override@19 {
				target = <&cam_module1>;
				_overlay_ {
					status = "disabled";
				};
			};
		};

		fragment-imx274-dual@0 {
			ids = "LPRD-dual-imx274-002";
			override@0 {
				target = <&imx274_cam0>;
				_overlay_ {
					status = "okay";
				};
			};
			override@1 {
				target = <&cam_module0>;
				_overlay_ {
					status = "okay";
					badge = "imx274_bottom_A6V26";
					position = "bottom";
					orientation = "0";
				};
			};
			override@2 {
				target = <&cam_module0_drivernode0>;
				_overlay_ {
					status = "okay";
					pcl_id = "v4l2_sensor";
					devname = "imx274 30-001a";
					proc-device-tree = "/proc/device-tree/i2c@3180000/tca9546@70/i2c@0/imx274_a@1a";
				};
			};
			override@3 {
				target = <&cam_module0_drivernode1>;
				_overlay_ {
					status = "okay";
					pcl_id = "v4l2_lens";
					proc-device-tree = "/proc/device-tree/lens_imx274@A6V26/";
				};
			};
			override@4 {
				target = <&imx274_cam1>;
				_overlay_ {
					status = "okay";
				};
			};
			override@5 {
				target = <&cam_module1>;
				_overlay_ {
					status = "okay";
					badge = "imx274_top_A6V26";
					position = "top";
					orientation = "0";
				};
			};
			override@6 {
				target = <&cam_module1_drivernode0>;
				_overlay_ {
					status = "okay";
					pcl_id = "v4l2_sensor";
					devname = "imx274 31-001a";
					proc-device-tree = "/proc/device-tree/i2c@3180000/tca9546@70/i2c@1/imx274_c@1a";
				};
			};
			override@7 {
				target = <&cam_module1_drivernode1>;
				_overlay_ {
					status = "okay";
					pcl_id = "v4l2_lens";
					proc-device-tree = "/proc/device-tree/lens_imx274@A6V26/";
				};
			};
			/* Enable VI ports */
			override@8 {
				target = <&vi_base>;
				_overlay_ {
					num-channels=<2>;
				};
			};
			override@9 {
				target = <&vi_port0>;
				_overlay_ {
					status = "okay";
				};
			};
			override@10 {
				target = <&vi_port1>;
				_overlay_ {
					status = "okay";
				};
			};
			override@11 {
				target = <&liimx274_vi_in0>;
				_overlay_ {
					status = "okay";
					port-index = <0>;
					bus-width = <4>;
					remote-endpoint = <&liimx274_csi_out0>;
				};
			};
			override@12 {
				target = <&liimx274_vi_in1>;
				_overlay_ {
					status = "okay";
					port-index = <2>;
					bus-width = <4>;
					remote-endpoint = <&liimx274_csi_out1>;
				};
			};
			/* Enable CSI ports */
			override@13{
				target = <&csi_base>;
				_overlay_ {
					num-channels=<2>;
				};
			};
			override@14 {
				target = <&csi_chan0>;
				_overlay_ {
					status = "okay";
				};
			};
			override@15 {
				target = <&csi_chan0_port0>;
				_overlay_ {
					status = "okay";
				};
			};
			override@16 {
				target = <&liimx274_csi_in0>;
				_overlay_ {
					status = "okay";
					port-index = <0>;
					bus-width = <4>;
					remote-endpoint = <&liimx274_imx274_out0>;
				};
			};
			override@17 {
				target = <&csi_chan0_port1>;
				_overlay_ {
					status = "okay";
				};
			};
			override@18 {
				target = <&liimx274_csi_out0>;
				_overlay_ {
					status = "okay";
				};
			};
			override@19 {
				target = <&csi_chan1>;
				_overlay_ {
					status = "okay";
				};
			};
			override@20 {
				target = <&csi_chan1_port0>;
				_overlay_ {
					status = "okay";
				};
			};
			override@21 {
				target = <&liimx274_csi_in1>;
				_overlay_ {
					status = "okay";
					port-index = <2>;
					bus-width = <4>;
					remote-endpoint = <&liimx274_imx274_out1>;
				};
			};
			override@22 {
				target = <&csi_chan1_port1>;
				_overlay_ {
					status = "okay";
				};
			};
			override@23 {
				target = <&liimx274_csi_out1>;
				_overlay_ {
					status = "okay";
				};
			};
			/* tegra-camera-platform settings */
			override@24 {
				target = <&tcp>;
				_overlay_ {
					num_csi_lanes = <8>;
					max_lane_speed = <1500000>;
					min_bits_per_pixel = <10>;
					vi_peak_byte_per_pixel = <2>;
					vi_bw_margin_pct = <25>;
					isp_peak_byte_per_pixel = <5>;
					isp_bw_margin_pct = <25>;
				};
			};
			/* pca9646 i2c mux */
			override@25 {
				target = <&tca9546_70>;
				_overlay_ {
					status = "okay";
				};
			};
			/* GPIO */
			override@26 {
				target = <&{/gpio@2200000}>;
				_overlay_ {
					camera-control-input {
						status = "disabled";
					};
					camera-control-output-low {
						status = "disabled";
					};
					camera-control-output-high {
						gpio-hog;
						gpios = <CAM0_RST_L 0 CAM0_PWDN 0>;
						label = "cam0-rst", "cam1-rst";
						output-high;
						status = "okay";
					};
				};
			};
		};

		/* E3331 camera board */
		fragment-e3331@0 {
			ids = "3331-*";
			/* VI number of channels */
			override@0 {
				target = <&vi_base>;
				_overlay_ {
					num-channels=<1>;	 /* TODO change to 3 */
				};
			};
			/* CSI number of channels */
			override@1 {
				target = <&csi_base>;
				_overlay_ {
					num-channels=<1>;	/* TODO change to 3 */
				};
			};
			/* tegra-camera-platform settings */
			override@2 {
				target = <&tcp>;
				_overlay_ {
						num_csi_lanes = <3>;
						max_lane_speed = <1500000>;
						min_bits_per_pixel = <10>;
						vi_peak_byte_per_pixel = <2>;
						vi_bw_margin_pct = <25>;
						max_pixel_rate = <160000>;
						isp_peak_byte_per_pixel = <5>;
						isp_bw_margin_pct = <25>;
				};
			};
			/* TCA9546 */
			override@4 {
				target = <&tca9546_70>;
				_overlay_ {
					status = "okay";
				};
			};
			/* Camera 0: Module */
			override@5 {
				target = <&e3331_cam0>;
				_overlay_ {
					status = "okay";
				};
			};
			override@6 {
				target = <&cam_module0>;
				_overlay_ {
					status = "okay";
					badge = "e3331_rear_22N02A";
					position = "rear";
					orientation = "1";
				};
			};
			override@7 {
				target = <&cam_module0_drivernode0>;
				_overlay_ {
					status = "okay";
					pcl_id = "v4l2_sensor";
					devname = "imx318 30-0010";
					proc-device-tree = "/proc/device-tree/i2c@3180000/tca9546@70/i2c@0/imx318_a@10";
				};
			};
			/* Camera 0: VI */
			override@9 {
				target = <&vi_port0>;
				_overlay_ {
					status = "okay";
				};
			};
			override@10 {
				target = <&e3331_vi_in0>;
				_overlay_ {
					status = "okay";
					port-index = <0>;
					bus-width = <3>;
					remote-endpoint = <&e3331_csi_out0>;
				};
			};
			/* Camera 0: CSI */
			override@11 {
				target = <&csi_chan0>;
				_overlay_ {
					status = "okay";
				};
			};
			override@12 {
				target = <&csi_chan0_port0>;
				_overlay_ {
					status = "okay";
				};
			};
			override@13 {
				target = <&e3331_csi_in0>;
				_overlay_ {
					status = "okay";
					port-index = <0>;
					bus-width = <3>;
					remote-endpoint = <&e3331_imx318_out0>;
				};
			};
			override@14 {
				target = <&csi_chan0_port1>;
				_overlay_ {
					status = "okay";
				};
			};
			override@15 {
				target = <&e3331_csi_out0>;
				_overlay_ {
					status = "okay";
					remote-endpoint = <&e3331_vi_in0>;
				};
			};
			/* GPIO */
			override@71 {
				target = <&{/gpio@2200000}>;
				_overlay_ {
					camera-control-input {
						status = "disabled";
					};
					camera-control-output-low {
						gpio-hog;
                        gpios = <CAM0_RST_L 0>;
                                /*<CAM1_RST_L 0> <CAM2_RST_L 0>*/
                        label = "cam0-rst";
                                /*"cam1-rst", "cam2-rst";*/
						output-low;
						status = "disabled";
					};
					camera-control-output-high {
						status = "disabled";
					};
				};
			};
		};
	};
};
